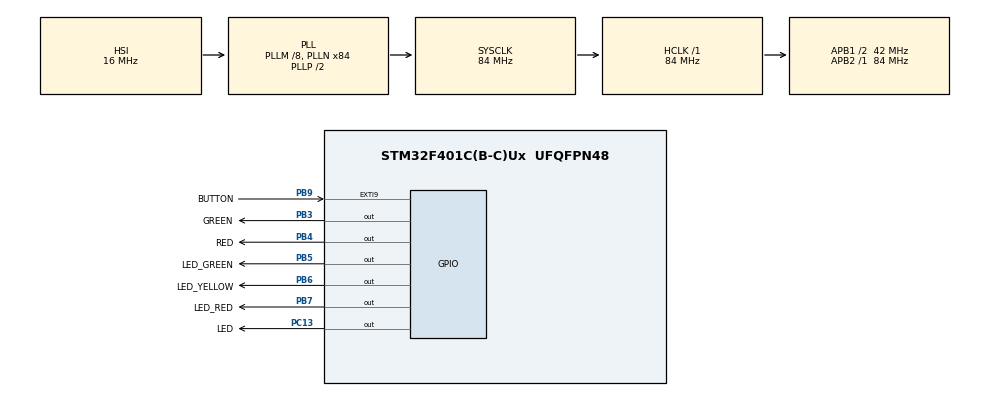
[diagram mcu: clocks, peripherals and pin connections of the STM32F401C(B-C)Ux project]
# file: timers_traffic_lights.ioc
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Mcu.Family=STM32F4
Mcu.Name=STM32F401C(B-C)Ux
Mcu.Package=UFQFPN48
NVIC.EXTI9_5_IRQn=true\:0\:0\:false\:false\:true\:true\:true\:true
NVIC.PriorityGroup=NVIC_PRIORITYGROUP_4
PB3.GPIO_Label=GREEN
PB3.Signal=GPIO_Output
PB4.GPIO_Label=RED
PB4.Signal=GPIO_Output
PB5.GPIO_Label=LED_GREEN
PB5.Signal=GPIO_Output
PB6.GPIO_Label=LED_YELLOW
PB6.Signal=GPIO_Output
PB7.GPIO_Label=LED_RED
PB7.Signal=GPIO_Output
PB9.GPIO_Label=BUTTON
PB9.Signal=GPXTI9
PC13-ANTI_TAMP.GPIO_Label=LED
PC13-ANTI_TAMP.Signal=GPIO_Output
ProjectManager.HeapSize=0x200
ProjectManager.StackSize=0x400
ProjectManager.TargetToolchain=STM32CubeIDE
RCC.48MHZClocksFreq_Value=42000000
RCC.AHBFreq_Value=84000000
RCC.APB1CLKDivider=RCC_HCLK_DIV2
RCC.APB1Freq_Value=42000000
RCC.APB1TimFreq_Value=84000000
RCC.APB2Freq_Value=84000000
RCC.APB2TimFreq_Value=84000000
RCC.CortexFreq_Value=84000000
RCC.HCLKFreq_Value=84000000
RCC.HSE_VALUE=25000000
RCC.HSI_VALUE=16000000
RCC.LSE_VALUE=32768
RCC.PLLM=8
RCC.PLLN=84
RCC.SYSCLKFreq_VALUE=84000000
RCC.SYSCLKSource=RCC_SYSCLKSOURCE_PLLCLK
RCC.VCOOutputFreq_Value=168000000
TIM9.AutoReloadPreload=TIM_AUTORELOAD_PRELOAD_DISABLE
TIM9.Period=65535
TIM9.Prescaler=8399
VP_TIM9_VS_ClockSourceINT.Mode=Internal
board=custom

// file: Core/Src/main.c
/* USER CODE BEGIN Header */
/**
  ******************************************************************************
  * @file           : main.c
  * @brief          : Main program body
  ******************************************************************************
  * @attention
  *
  * Copyright (c) 2022 STMicroelectronics.
  * All rights reserved.
  *
  * This software is licensed under terms that can be found in the LICENSE file
  * in the root directory of this software component.
  * If no LICENSE file comes with this software, it is provided AS-IS.
  *
  ******************************************************************************
  */
/* USER CODE END Header */
#include "main.h"

/* USER CODE BEGIN Includes */
#include "stdbool.h"
/* USER CODE END Includes */

TIM_HandleTypeDef htim9;

void SystemClock_Config(void);
static void MX_GPIO_Init(void);
static void MX_TIM9_Init(void);

/* USER CODE BEGIN 0 */
bool f_check = false;

void timeout(uint16_t timer_val){
	__HAL_TIM_SET_COUNTER(&htim9,0);
	while(__HAL_TIM_GET_COUNTER(&htim9) < timer_val);
}
/* USER CODE END 0 */

int main(void)
{

  /* MCU Configuration--------------------------------------------------------*/

  /* Reset of all peripherals, Initializes the Flash interface and the Systick. */
  HAL_Init();

  /* Configure the system clock */
  SystemClock_Config();

  /* Initialize all configured peripherals */
  MX_GPIO_Init();
  MX_TIM9_Init();
  /* USER CODE BEGIN 2 */
  HAL_TIM_Base_Start(&htim9);
  /* USER CODE END 2 */

  /* Infinite loop */
  /* USER CODE BEGIN WHILE */
  while (1)
  {
	  HAL_GPIO_WritePin(GPIOB, LED_GREEN_Pin, GPIO_PIN_SET); //lights up green for cars
	  HAL_GPIO_WritePin(GPIOB, RED_Pin, GPIO_PIN_SET); //lights up red for pedestrians

	  //checking if the button was pressed
	  if (f_check){
		  //HAL_Delay(2000);
		  timeout(20000); //timer until the end of the green for cars (2s)
		  HAL_GPIO_WritePin(GPIOB, LED_GREEN_Pin, GPIO_PIN_RESET); //turning off the green for cars

		  //blinking in yellow
		  for(int i = 0; i < 3; i++){
			  HAL_GPIO_WritePin(GPIOB, LED_YELLOW_Pin, GPIO_PIN_SET);
			  timeout(5000);
			  HAL_GPIO_WritePin(GPIOB, LED_YELLOW_Pin, GPIO_PIN_RESET);
			  timeout(5000);
		  }

		  HAL_GPIO_WritePin(GPIOB, LED_RED_Pin, GPIO_PIN_SET); //lights up red for cars
		  HAL_GPIO_WritePin(GPIOB, RED_Pin, GPIO_PIN_RESET); //turning off the red for pedestrians
		  HAL_GPIO_WritePin(GPIOB, GREEN_Pin, GPIO_PIN_SET); //lights up green for pedestrians
		  timeout(20000); //timer (2s)

		  //blinking in yellow
		  for(int i = 0; i < 3; i++){
			  HAL_GPIO_WritePin(GPIOB, LED_YELLOW_Pin, GPIO_PIN_SET);
			  timeout(5000);
			  HAL_GPIO_WritePin(GPIOB, LED_YELLOW_Pin, GPIO_PIN_RESET);
			  timeout(5000);
		  }

		  HAL_GPIO_WritePin(GPIOB, LED_RED_Pin, GPIO_PIN_RESET);//turning off the red for cars
		  HAL_GPIO_WritePin(GPIOB, RED_Pin, GPIO_PIN_SET); //lights up the red for pedestrians
		  HAL_GPIO_WritePin(GPIOB, GREEN_Pin, GPIO_PIN_RESET); //turning off green for pedestrians

		  f_check = false;
	  }

    /* USER CODE END WHILE */

  }
}

void SystemClock_Config(void)
{
  RCC_OscInitTypeDef RCC_OscInitStruct = {0};
  RCC_ClkInitTypeDef RCC_ClkInitStruct = {0};

  /** Configure the main internal regulator output voltage
  */
  __HAL_RCC_PWR_CLK_ENABLE();
  __HAL_PWR_VOLTAGESCALING_CONFIG(PWR_REGULATOR_VOLTAGE_SCALE2);

  /** Initializes the RCC Oscillators according to the specified parameters
  * in the RCC_OscInitTypeDef structure.
  */
  RCC_OscInitStruct.OscillatorType = RCC_OSCILLATORTYPE_HSI;
  RCC_OscInitStruct.HSIState = RCC_HSI_ON;
  RCC_OscInitStruct.HSICalibrationValue = RCC_HSICALIBRATION_DEFAULT;
  RCC_OscInitStruct.PLL.PLLState = RCC_PLL_ON;
  RCC_OscInitStruct.PLL.PLLSource = RCC_PLLSOURCE_HSI;
  RCC_OscInitStruct.PLL.PLLM = 8;
  RCC_OscInitStruct.PLL.PLLN = 84;
  RCC_OscInitStruct.PLL.PLLP = RCC_PLLP_DIV2;
  RCC_OscInitStruct.PLL.PLLQ = 4;
  if (HAL_RCC_OscConfig(&RCC_OscInitStruct) != HAL_OK)
  {
    Error_Handler();
  }

  /** Initializes the CPU, AHB and APB buses clocks
  */
  RCC_ClkInitStruct.ClockType = RCC_CLOCKTYPE_HCLK|RCC_CLOCKTYPE_SYSCLK
                              |RCC_CLOCKTYPE_PCLK1|RCC_CLOCKTYPE_PCLK2;
  RCC_ClkInitStruct.SYSCLKSource = RCC_SYSCLKSOURCE_PLLCLK;
  RCC_ClkInitStruct.AHBCLKDivider = RCC_SYSCLK_DIV1;
  RCC_ClkInitStruct.APB1CLKDivider = RCC_HCLK_DIV2;
  RCC_ClkInitStruct.APB2CLKDivider = RCC_HCLK_DIV1;

  if (HAL_RCC_ClockConfig(&RCC_ClkInitStruct, FLASH_LATENCY_2) != HAL_OK)
  {
    Error_Handler();
  }
}

static void MX_TIM9_Init(void)
{

  TIM_ClockConfigTypeDef sClockSourceConfig = {0};

  htim9.Instance = TIM9;
  htim9.Init.Prescaler = 8399;
  htim9.Init.CounterMode = TIM_COUNTERMODE_UP;
  htim9.Init.Period = 65535;
  htim9.Init.ClockDivision = TIM_CLOCKDIVISION_DIV1;
  htim9.Init.AutoReloadPreload = TIM_AUTORELOAD_PRELOAD_DISABLE;
  if (HAL_TIM_Base_Init(&htim9) != HAL_OK)
  {
    Error_Handler();
  }
  sClockSourceConfig.ClockSource = TIM_CLOCKSOURCE_INTERNAL;
  if (HAL_TIM_ConfigClockSource(&htim9, &sClockSourceConfig) != HAL_OK)
  {
    Error_Handler();
  }

}

static void MX_GPIO_Init(void)
{
  GPIO_InitTypeDef GPIO_InitStruct = {0};

  /* GPIO Ports Clock Enable */
  __HAL_RCC_GPIOC_CLK_ENABLE();
  __HAL_RCC_GPIOB_CLK_ENABLE();

  /*Configure GPIO pin Output Level */
  HAL_GPIO_WritePin(LED_GPIO_Port, LED_Pin, GPIO_PIN_RESET);

  /*Configure GPIO pin Output Level */
  HAL_GPIO_WritePin(GPIOB, GREEN_Pin|RED_Pin|LED_GREEN_Pin|LED_YELLOW_Pin
                          |LED_RED_Pin, GPIO_PIN_RESET);

  /*Configure GPIO pin : LED_Pin */
  GPIO_InitStruct.Pin = LED_Pin;
  GPIO_InitStruct.Mode = GPIO_MODE_OUTPUT_PP;
  GPIO_InitStruct.Pull = GPIO_NOPULL;
  GPIO_InitStruct.Speed = GPIO_SPEED_FREQ_LOW;
  HAL_GPIO_Init(LED_GPIO_Port, &GPIO_InitStruct);

  /*Configure GPIO pins : GREEN_Pin RED_Pin LED_GREEN_Pin LED_YELLOW_Pin
                           LED_RED_Pin */
  GPIO_InitStruct.Pin = GREEN_Pin|RED_Pin|LED_GREEN_Pin|LED_YELLOW_Pin
                          |LED_RED_Pin;
  GPIO_InitStruct.Mode = GPIO_MODE_OUTPUT_PP;
  GPIO_InitStruct.Pull = GPIO_NOPULL;
  GPIO_InitStruct.Speed = GPIO_SPEED_FREQ_LOW;
  HAL_GPIO_Init(GPIOB, &GPIO_InitStruct);

  /*Configure GPIO pin : BUTTON_Pin */
  GPIO_InitStruct.Pin = BUTTON_Pin;
  GPIO_InitStruct.Mode = GPIO_MODE_IT_RISING;
  GPIO_InitStruct.Pull = GPIO_NOPULL;
  HAL_GPIO_Init(BUTTON_GPIO_Port, &GPIO_InitStruct);

  /* EXTI interrupt init*/
  HAL_NVIC_SetPriority(EXTI9_5_IRQn, 0, 0);
  HAL_NVIC_EnableIRQ(EXTI9_5_IRQn);

}

/* USER CODE BEGIN 4 */
void HAL_GPIO_EXTI_Callback(uint16_t GPIO_Pin){
	f_check = true;
}
/* USER CODE END 4 */

void Error_Handler(void)
{
  __disable_irq();
  while (1)
  {
  }
}
